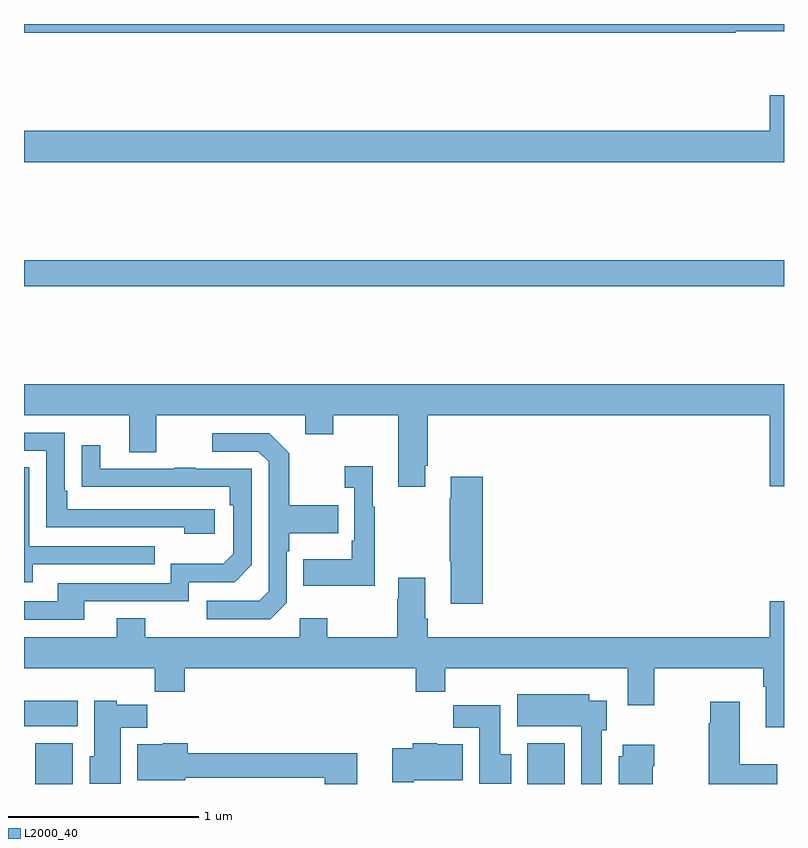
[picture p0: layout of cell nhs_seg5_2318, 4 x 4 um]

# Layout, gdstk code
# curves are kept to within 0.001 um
import gdstk
lib = gdstk.Library(unit=1e-6, precision=1e-09)
def R(c, l, rs):  # rectangles x0, y0, x1, y1
    for r in rs: c.add(gdstk.rectangle(r[:2], r[2:], *l))
def P(c, l, *ps):  # polygons
    for p in ps: c.add(gdstk.Polygon(p, *l))
L2000_40 = (2000, 40)

nhs_seg5_2318 = lib.new_cell('nhs_seg5_2318')
R(nhs_seg5_2318, L2000_40, [(245.06,874.799,245.257,875.014), (247.649,874.799,247.846,875.014), (245,875.102,245.284,875.236), (245,877.42,249,877.556)])
P(nhs_seg5_2318, L2000_40, [(248.745,878.76),(249,878.76),(249,878.799),(245,878.799),(245,878.752),(248.745,878.752)],
  [(249,878.425),(248.924,878.425),(248.924,878.236),(245,878.236),(245,878.072),(249,878.072)],
  [(247.111,876.475),(247.124,876.475),(247.124,876.74),(248.924,876.74),(248.924,876.366),(249,876.366),(249,876.904),(245,876.904),(245,876.74),(245.555,876.74),(245.555,876.546),(245.695,876.546),(245.695,876.74),(246.479,876.74),(246.479,876.641),(246.627,876.641),(246.627,876.74),(246.971,876.74),(246.971,876.363),(247.111,876.363)],
  [(246.004,876.246),(245.227,876.246),(245.227,876.343),(245.214,876.343),(245.214,876.648),(245,876.648),(245,876.552),(245.118,876.552),(245.118,876.15),(245.843,876.15),(245.843,876.116),(246.004,876.116)],
  [(246.384,875.754),(246.384,876.023),(246.397,876.023),(246.397,876.119),(246.653,876.119),(246.653,876.267),(246.397,876.267),(246.397,876.539),(246.291,876.645),(245.991,876.645),(245.991,876.549),(246.234,876.549),(246.288,876.495),(246.288,875.814),(246.237,875.763),(245.961,875.763),(245.961,875.667),(246.297,875.667)],
  [(245.317,875.76),(245.868,875.76),(245.868,875.862),(246.108,875.862),(246.198,875.952),(246.198,876.459),(245.903,876.459),(245.903,876.464),(245.791,876.464),(245.791,876.459),(245.401,876.459),(245.401,876.583),(245.305,876.583),(245.305,876.364),(246.082,876.363),(246.082,876.266),(246.102,876.266),(246.102,876.012),(246.049,875.959),(245.772,875.959),(245.772,875.856),(245.177,875.856),(245.177,875.76),(245,875.76),(245,875.664),(245.317,875.664)],
  [(246.847,876.259),(246.835,876.259),(246.835,876.472),(246.687,876.472),(246.687,876.359),(246.738,876.359),(246.738,876.079),(246.726,876.079),(246.726,875.983),(246.469,875.983),(246.469,875.843),(246.847,875.843)],
  [(245.047,875.955),(245.687,875.955),(245.687,876.051),(245.028,876.051),(245.028,876.467),(245,876.467),(245,875.861),(245.047,875.861)],
  [(247.415,876.415),(247.247,876.415),(247.247,876.302),(247.24,876.302),(247.24,875.971),(247.247,875.971),(247.247,875.748),(247.415,875.748)],
  [(249,875.761),(248.924,875.761),(248.924,875.572),(247.124,875.572),(247.124,875.668),(247.111,875.668),(247.111,875.884),(246.971,875.884),(246.971,875.771),(246.964,875.771),(246.964,875.572),(246.597,875.572),(246.597,875.671),(246.45,875.671),(246.45,875.572),(245.637,875.572),(245.637,875.671),(245.489,875.671),(245.489,875.572),(245,875.572),(245,875.408),(245.689,875.408),(245.689,875.284),(245.846,875.284),(245.846,875.408),(247.061,875.408),(247.061,875.284),(247.217,875.284),(247.217,875.408),(248.177,875.408),(248.177,875.214),(248.317,875.214),(248.317,875.408),(248.891,875.408),(248.891,875.312),(248.903,875.312),(248.903,875.097),(249,875.097)],
  [(248.041,875.082),(248.068,875.082),(248.068,875.236),(247.975,875.236),(247.975,875.272),(247.595,875.272),(247.595,875.102),(247.934,875.102),(247.934,874.799),(248.041,874.799)],
  [(245.509,875.096),(245.648,875.096),(245.648,875.215),(245.487,875.215),(245.487,875.236),(245.369,875.236),(245.369,874.944),(245.345,874.944),(245.345,874.8),(245.509,874.8)],
  [(248.965,874.903),(248.767,874.903),(248.767,875.233),(248.612,875.233),(248.612,875.12),(248.605,875.12),(248.605,874.799),(248.965,874.799)],
  [(247.564,874.956),(247.507,874.956),(247.507,875.214),(247.258,875.214),(247.258,875.096),(247.397,875.096),(247.397,874.8),(247.564,874.8)],
  [(247.051,874.82),(247.309,874.82),(247.309,875.008),(247.176,875.008),(247.176,875.014),(247.046,875.014),(247.046,874.986),(246.939,874.986),(246.939,874.808),(247.051,874.808)],
  [(246.754,874.96),(245.861,874.96),(245.861,875.014),(245.73,875.014),(245.73,875.008),(245.597,875.008),(245.597,874.82),(245.848,874.82),(245.848,874.831),(246.584,874.831),(246.584,874.799),(246.754,874.799)],
  [(248.308,874.892),(248.316,874.892),(248.316,875.005),(248.15,875.005),(248.15,874.944),(248.129,874.944),(248.129,874.799),(248.308,874.799)])

lib.write_gds('nhs_seg5_2318.gds')
